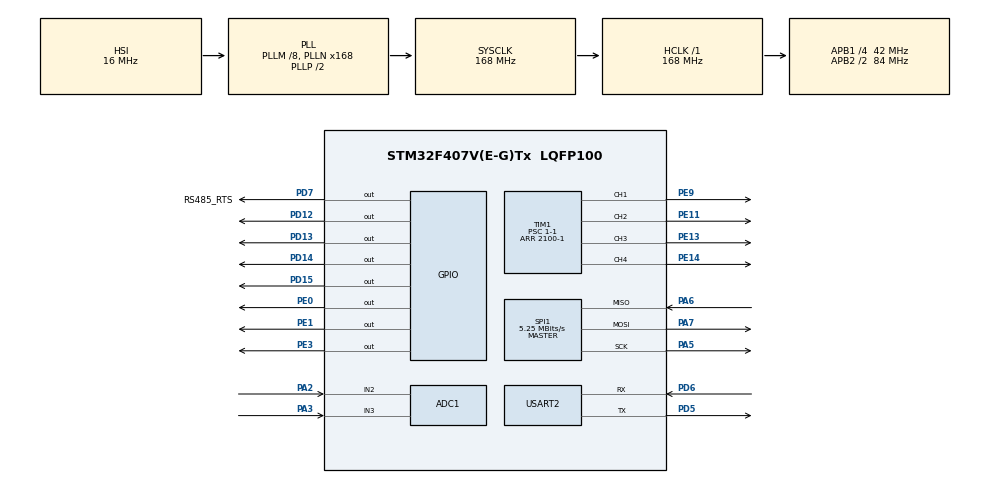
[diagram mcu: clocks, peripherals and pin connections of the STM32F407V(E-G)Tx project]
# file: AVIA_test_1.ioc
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ADC1.Channel-0\#ChannelRegularConversion=ADC_CHANNEL_2
ADC1.Channel-1\#ChannelRegularConversion=ADC_CHANNEL_3
ADC1.DMAContinuousRequests=ENABLE
ADC1.ExternalTrigConv=ADC_EXTERNALTRIGCONV_T2_TRGO
ADC1.NbrOfConversion=2
ADC1.NbrOfConversionFlag=1
ADC1.Rank-0\#ChannelRegularConversion=1
ADC1.Rank-1\#ChannelRegularConversion=2
ADC1.SamplingTime-0\#ChannelRegularConversion=ADC_SAMPLETIME_28CYCLES
ADC1.SamplingTime-1\#ChannelRegularConversion=ADC_SAMPLETIME_28CYCLES
ADC1.ScanConvMode=ENABLE
ADC1.master=1
Dma.ADC1.0.Direction=DMA_PERIPH_TO_MEMORY
Dma.ADC1.0.FIFOMode=DMA_FIFOMODE_DISABLE
Dma.ADC1.0.Instance=DMA2_Stream0
Dma.ADC1.0.MemDataAlignment=DMA_MDATAALIGN_HALFWORD
Dma.ADC1.0.MemInc=DMA_MINC_ENABLE
Dma.ADC1.0.Mode=DMA_CIRCULAR
Dma.ADC1.0.PeriphDataAlignment=DMA_PDATAALIGN_HALFWORD
Dma.ADC1.0.PeriphInc=DMA_PINC_DISABLE
Dma.ADC1.0.Priority=DMA_PRIORITY_LOW
Dma.Request0=ADC1
Mcu.Family=STM32F4
Mcu.Name=STM32F407V(E-G)Tx
Mcu.Package=LQFP100
NVIC.ADC_IRQn=true\:0\:0\:false\:false\:true\:true\:true
NVIC.DMA2_Stream0_IRQn=true\:0\:0\:false\:false\:true\:false\:true
NVIC.PriorityGroup=NVIC_PRIORITYGROUP_4
NVIC.TIM1_BRK_TIM9_IRQn=true\:0\:0\:false\:false\:true\:true\:true
NVIC.TIM1_CC_IRQn=true\:0\:0\:false\:false\:true\:true\:true
NVIC.TIM1_TRG_COM_TIM11_IRQn=true\:0\:0\:false\:false\:true\:true\:true
NVIC.TIM1_UP_TIM10_IRQn=true\:0\:0\:false\:false\:true\:true\:true
NVIC.TIM7_IRQn=true\:0\:0\:false\:false\:true\:true\:true
NVIC.USART2_IRQn=true\:0\:0\:false\:false\:true\:true\:true
PA13.Mode=Serial_Wire
PA13.Signal=SYS_JTMS-SWDIO
PA14.Mode=Serial_Wire
PA14.Signal=SYS_JTCK-SWCLK
PA2.Signal=ADCx_IN2
PA3.Signal=ADCx_IN3
PA5.Mode=Full_Duplex_Master
PA5.Signal=SPI1_SCK
PA6.Mode=Full_Duplex_Master
PA6.Signal=SPI1_MISO
PA7.Mode=Full_Duplex_Master
PA7.Signal=SPI1_MOSI
PD12.Signal=GPIO_Output
PD13.Signal=GPIO_Output
PD14.Signal=GPIO_Output
PD15.Signal=GPIO_Output
PD5.Mode=Asynchronous
PD5.Signal=USART2_TX
PD6.Mode=Asynchronous
PD6.Signal=USART2_RX
PD7.GPIO_Label=RS485_RTS
PD7.GPIO_Speed=GPIO_SPEED_FREQ_LOW
PD7.Signal=GPIO_Output
PE0.Signal=GPIO_Output
PE1.Signal=GPIO_Output
PE11.Signal=S_TIM1_CH2
PE13.Signal=S_TIM1_CH3
PE14.Signal=S_TIM1_CH4
PE3.GPIO_Speed=GPIO_SPEED_FREQ_MEDIUM
PE3.Signal=GPIO_Output
PE9.Signal=S_TIM1_CH1
PH0-OSC_IN.Mode=HSE-External-Oscillator
PH0-OSC_IN.Signal=RCC_OSC_IN
PH1-OSC_OUT.Mode=HSE-External-Oscillator
PH1-OSC_OUT.Signal=RCC_OSC_OUT
ProjectManager.HeapSize=0x200
ProjectManager.StackSize=0x400
ProjectManager.TargetToolchain=SW4STM32
RCC.48MHZClocksFreq_Value=84000000
RCC.AHBFreq_Value=168000000
RCC.APB1CLKDivider=RCC_HCLK_DIV4
RCC.APB1Freq_Value=42000000
RCC.APB1TimFreq_Value=84000000
RCC.APB2CLKDivider=RCC_HCLK_DIV2
RCC.APB2Freq_Value=84000000
RCC.APB2TimFreq_Value=168000000
RCC.CortexFreq_Value=168000000
RCC.HCLKFreq_Value=168000000
RCC.HSE_VALUE=8000000
RCC.HSI_VALUE=16000000
RCC.LSE_VALUE=32768
RCC.PLLM=8
RCC.PLLN=168
RCC.SYSCLKFreq_VALUE=168000000
RCC.SYSCLKSource=RCC_SYSCLKSOURCE_PLLCLK
RCC.VCOOutputFreq_Value=336000000
SH.ADCx_IN2.0=ADC1_IN2,IN2
SH.ADCx_IN3.0=ADC1_IN3,IN3
SH.S_TIM1_CH1.0=TIM1_CH1,PWM Generation1 CH1
SH.S_TIM1_CH2.0=TIM1_CH2,PWM Generation2 CH2
SH.S_TIM1_CH3.0=TIM1_CH3,PWM Generation3 CH3
SH.S_TIM1_CH4.0=TIM1_CH4,Output Compare4 CH4
SPI1.BaudRatePrescaler=SPI_BAUDRATEPRESCALER_16
SPI1.CalculateBaudRate=5.25 MBits/s
SPI1.Direction=SPI_DIRECTION_2LINES
SPI1.Mode=SPI_MODE_MASTER
SPI1.VirtualType=VM_MASTER
TIM1.Channel-Output\ Compare4\ CH4=TIM_CHANNEL_4
TIM1.Channel-PWM\ Generation1\ CH1=TIM_CHANNEL_1
TIM1.Channel-PWM\ Generation2\ CH2=TIM_CHANNEL_2
TIM1.Channel-PWM\ Generation3\ CH3=TIM_CHANNEL_3
TIM1.Period=2100-1
TIM1.Prescaler=1-1
TIM7.Period=50-1
TIM7.Prescaler=72-1
USART2.VirtualMode=VM_ASYNC
VP_TIM1_VS_ClockSourceINT.Mode=Internal
VP_TIM7_VS_ClockSourceINT.Mode=Enable_Timer
board=custom

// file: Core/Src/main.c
/* USER CODE BEGIN Header */
/**
  ******************************************************************************
  * @file           : main.c
  * @brief          : Main program body
  ******************************************************************************
  * @attention
  *
  * <h2><center>&copy; Copyright (c) 2024 STMicroelectronics.
  * All rights reserved.</center></h2>
  *
  * This software component is licensed by ST under BSD 3-Clause license,
  * the "License"; You may not use this file except in compliance with the
  * License. You may obtain a copy of the License at:
  *                        opensource.org/licenses/BSD-3-Clause
  *
  ******************************************************************************
  */
/* USER CODE END Header */
#include "main.h"

/* USER CODE BEGIN Includes */
#include "mb.h"
#include "mbport.h"
#include "user_mb_app.h"
/* USER CODE END Includes */

ADC_HandleTypeDef hadc1;
DMA_HandleTypeDef hdma_adc1;

SPI_HandleTypeDef hspi1;

TIM_HandleTypeDef htim1;
TIM_HandleTypeDef htim7;

UART_HandleTypeDef huart2;

void SystemClock_Config(void);
static void MX_GPIO_Init(void);
static void MX_DMA_Init(void);
static void MX_ADC1_Init(void);
static void MX_TIM1_Init(void);
static void MX_TIM7_Init(void);
static void MX_USART2_UART_Init(void);
static void MX_SPI1_Init(void);

/* USER CODE BEGIN 0 */
extern uint16_t usSRegInBuf[];
extern uint16_t usSRegHoldBuf[];
extern uint8_t ucSDiscInBuf[];
uint16_t adc_data[2];

/* USER CODE END 0 */

int main(void)
{

  /* MCU Configuration--------------------------------------------------------*/

  /* Reset of all peripherals, Initializes the Flash interface and the Systick. */
  HAL_Init();

  /* Configure the system clock */
  SystemClock_Config();

  /* Initialize all configured peripherals */
  MX_GPIO_Init();
  MX_DMA_Init();
  MX_ADC1_Init();
  MX_TIM1_Init();
  MX_TIM7_Init();
  MX_USART2_UART_Init();
  MX_SPI1_Init();
  /* USER CODE BEGIN 2 */

  eMBInit( MB_RTU, 0x0A, &huart2, 115200, &htim7 );
  eMBEnable( );

  uint32_t last_time = HAL_GetTick();

  /* USER CODE END 2 */

  /* Infinite loop */
  /* USER CODE BEGIN WHILE */
  while (1)
  {
//	  HAL_GPIO_TogglePin(GPIOD,GPIO_PIN_15);
//	  HAL_Delay(500);

	  if(HAL_GetTick() - last_time > 1000){
//		  usSRegInBuf[0] = HAL_GetTick()/1000;
		  usSRegHoldBuf[0] = HAL_GetTick()/1000;
		  last_time = HAL_GetTick();
		  HAL_GPIO_TogglePin(GPIOD,GPIO_PIN_15);

	  }

	eMBPoll();
    /* USER CODE END WHILE */

  }
}

void SystemClock_Config(void)
{
  RCC_OscInitTypeDef RCC_OscInitStruct = {0};
  RCC_ClkInitTypeDef RCC_ClkInitStruct = {0};

  /** Configure the main internal regulator output voltage
  */
  __HAL_RCC_PWR_CLK_ENABLE();
  __HAL_PWR_VOLTAGESCALING_CONFIG(PWR_REGULATOR_VOLTAGE_SCALE1);
  /** Initializes the RCC Oscillators according to the specified parameters
  * in the RCC_OscInitTypeDef structure.
  */
  RCC_OscInitStruct.OscillatorType = RCC_OSCILLATORTYPE_HSI;
  RCC_OscInitStruct.HSIState = RCC_HSI_ON;
  RCC_OscInitStruct.HSICalibrationValue = RCC_HSICALIBRATION_DEFAULT;
  RCC_OscInitStruct.PLL.PLLState = RCC_PLL_ON;
  RCC_OscInitStruct.PLL.PLLSource = RCC_PLLSOURCE_HSI;
  RCC_OscInitStruct.PLL.PLLM = 8;
  RCC_OscInitStruct.PLL.PLLN = 168;
  RCC_OscInitStruct.PLL.PLLP = RCC_PLLP_DIV2;
  RCC_OscInitStruct.PLL.PLLQ = 4;
  if (HAL_RCC_OscConfig(&RCC_OscInitStruct) != HAL_OK)
  {
    Error_Handler();
  }
  /** Initializes the CPU, AHB and APB buses clocks
  */
  RCC_ClkInitStruct.ClockType = RCC_CLOCKTYPE_HCLK|RCC_CLOCKTYPE_SYSCLK
                              |RCC_CLOCKTYPE_PCLK1|RCC_CLOCKTYPE_PCLK2;
  RCC_ClkInitStruct.SYSCLKSource = RCC_SYSCLKSOURCE_PLLCLK;
  RCC_ClkInitStruct.AHBCLKDivider = RCC_SYSCLK_DIV1;
  RCC_ClkInitStruct.APB1CLKDivider = RCC_HCLK_DIV4;
  RCC_ClkInitStruct.APB2CLKDivider = RCC_HCLK_DIV2;

  if (HAL_RCC_ClockConfig(&RCC_ClkInitStruct, FLASH_LATENCY_5) != HAL_OK)
  {
    Error_Handler();
  }
}

static void MX_ADC1_Init(void)
{

  ADC_ChannelConfTypeDef sConfig = {0};

  /** Configure the global features of the ADC (Clock, Resolution, Data Alignment and number of conversion)
  */
  hadc1.Instance = ADC1;
  hadc1.Init.ClockPrescaler = ADC_CLOCK_SYNC_PCLK_DIV4;
  hadc1.Init.Resolution = ADC_RESOLUTION_12B;
  hadc1.Init.ScanConvMode = ENABLE;
  hadc1.Init.ContinuousConvMode = DISABLE;
  hadc1.Init.DiscontinuousConvMode = DISABLE;
  hadc1.Init.ExternalTrigConvEdge = ADC_EXTERNALTRIGCONVEDGE_RISING;
  hadc1.Init.ExternalTrigConv = ADC_EXTERNALTRIGCONV_T2_TRGO;
  hadc1.Init.DataAlign = ADC_DATAALIGN_RIGHT;
  hadc1.Init.NbrOfConversion = 2;
  hadc1.Init.DMAContinuousRequests = ENABLE;
  hadc1.Init.EOCSelection = ADC_EOC_SINGLE_CONV;
  if (HAL_ADC_Init(&hadc1) != HAL_OK)
  {
    Error_Handler();
  }
  /** Configure for the selected ADC regular channel its corresponding rank in the sequencer and its sample time.
  */
  sConfig.Channel = ADC_CHANNEL_2;
  sConfig.Rank = 1;
  sConfig.SamplingTime = ADC_SAMPLETIME_28CYCLES;
  if (HAL_ADC_ConfigChannel(&hadc1, &sConfig) != HAL_OK)
  {
    Error_Handler();
  }
  /** Configure for the selected ADC regular channel its corresponding rank in the sequencer and its sample time.
  */
  sConfig.Channel = ADC_CHANNEL_3;
  sConfig.Rank = 2;
  if (HAL_ADC_ConfigChannel(&hadc1, &sConfig) != HAL_OK)
  {
    Error_Handler();
  }

}

static void MX_SPI1_Init(void)
{

  /* SPI1 parameter configuration*/
  hspi1.Instance = SPI1;
  hspi1.Init.Mode = SPI_MODE_MASTER;
  hspi1.Init.Direction = SPI_DIRECTION_2LINES;
  hspi1.Init.DataSize = SPI_DATASIZE_8BIT;
  hspi1.Init.CLKPolarity = SPI_POLARITY_LOW;
  hspi1.Init.CLKPhase = SPI_PHASE_1EDGE;
  hspi1.Init.NSS = SPI_NSS_SOFT;
  hspi1.Init.BaudRatePrescaler = SPI_BAUDRATEPRESCALER_16;
  hspi1.Init.FirstBit = SPI_FIRSTBIT_MSB;
  hspi1.Init.TIMode = SPI_TIMODE_DISABLE;
  hspi1.Init.CRCCalculation = SPI_CRCCALCULATION_DISABLE;
  hspi1.Init.CRCPolynomial = 10;
  if (HAL_SPI_Init(&hspi1) != HAL_OK)
  {
    Error_Handler();
  }

}

static void MX_TIM1_Init(void)
{

  TIM_ClockConfigTypeDef sClockSourceConfig = {0};
  TIM_MasterConfigTypeDef sMasterConfig = {0};
  TIM_OC_InitTypeDef sConfigOC = {0};
  TIM_BreakDeadTimeConfigTypeDef sBreakDeadTimeConfig = {0};

  htim1.Instance = TIM1;
  htim1.Init.Prescaler = 1-1;
  htim1.Init.CounterMode = TIM_COUNTERMODE_UP;
  htim1.Init.Period = 2100-1;
  htim1.Init.ClockDivision = TIM_CLOCKDIVISION_DIV1;
  htim1.Init.RepetitionCounter = 0;
  htim1.Init.AutoReloadPreload = TIM_AUTORELOAD_PRELOAD_DISABLE;
  if (HAL_TIM_Base_Init(&htim1) != HAL_OK)
  {
    Error_Handler();
  }
  sClockSourceConfig.ClockSource = TIM_CLOCKSOURCE_INTERNAL;
  if (HAL_TIM_ConfigClockSource(&htim1, &sClockSourceConfig) != HAL_OK)
  {
    Error_Handler();
  }
  if (HAL_TIM_PWM_Init(&htim1) != HAL_OK)
  {
    Error_Handler();
  }
  if (HAL_TIM_OC_Init(&htim1) != HAL_OK)
  {
    Error_Handler();
  }
  sMasterConfig.MasterOutputTrigger = TIM_TRGO_RESET;
  sMasterConfig.MasterSlaveMode = TIM_MASTERSLAVEMODE_DISABLE;
  if (HAL_TIMEx_MasterConfigSynchronization(&htim1, &sMasterConfig) != HAL_OK)
  {
    Error_Handler();
  }
  sConfigOC.OCMode = TIM_OCMODE_PWM1;
  sConfigOC.Pulse = 0;
  sConfigOC.OCPolarity = TIM_OCPOLARITY_HIGH;
  sConfigOC.OCNPolarity = TIM_OCNPOLARITY_HIGH;
  sConfigOC.OCFastMode = TIM_OCFAST_DISABLE;
  sConfigOC.OCIdleState = TIM_OCIDLESTATE_RESET;
  sConfigOC.OCNIdleState = TIM_OCNIDLESTATE_RESET;
  if (HAL_TIM_PWM_ConfigChannel(&htim1, &sConfigOC, TIM_CHANNEL_1) != HAL_OK)
  {
    Error_Handler();
  }
  if (HAL_TIM_PWM_ConfigChannel(&htim1, &sConfigOC, TIM_CHANNEL_2) != HAL_OK)
  {
    Error_Handler();
  }
  if (HAL_TIM_PWM_ConfigChannel(&htim1, &sConfigOC, TIM_CHANNEL_3) != HAL_OK)
  {
    Error_Handler();
  }
  sConfigOC.OCMode = TIM_OCMODE_TIMING;
  if (HAL_TIM_OC_ConfigChannel(&htim1, &sConfigOC, TIM_CHANNEL_4) != HAL_OK)
  {
    Error_Handler();
  }
  sBreakDeadTimeConfig.OffStateRunMode = TIM_OSSR_DISABLE;
  sBreakDeadTimeConfig.OffStateIDLEMode = TIM_OSSI_DISABLE;
  sBreakDeadTimeConfig.LockLevel = TIM_LOCKLEVEL_OFF;
  sBreakDeadTimeConfig.DeadTime = 0;
  sBreakDeadTimeConfig.BreakState = TIM_BREAK_DISABLE;
  sBreakDeadTimeConfig.BreakPolarity = TIM_BREAKPOLARITY_HIGH;
  sBreakDeadTimeConfig.AutomaticOutput = TIM_AUTOMATICOUTPUT_DISABLE;
  if (HAL_TIMEx_ConfigBreakDeadTime(&htim1, &sBreakDeadTimeConfig) != HAL_OK)
  {
    Error_Handler();
  }
  HAL_TIM_MspPostInit(&htim1);

}

static void MX_TIM7_Init(void)
{

  TIM_MasterConfigTypeDef sMasterConfig = {0};

  htim7.Instance = TIM7;
  htim7.Init.Prescaler = 72-1;
  htim7.Init.CounterMode = TIM_COUNTERMODE_UP;
  htim7.Init.Period = 50-1;
  htim7.Init.AutoReloadPreload = TIM_AUTORELOAD_PRELOAD_DISABLE;
  if (HAL_TIM_Base_Init(&htim7) != HAL_OK)
  {
    Error_Handler();
  }
  sMasterConfig.MasterOutputTrigger = TIM_TRGO_RESET;
  sMasterConfig.MasterSlaveMode = TIM_MASTERSLAVEMODE_DISABLE;
  if (HAL_TIMEx_MasterConfigSynchronization(&htim7, &sMasterConfig) != HAL_OK)
  {
    Error_Handler();
  }

}

static void MX_USART2_UART_Init(void)
{

  huart2.Instance = USART2;
  huart2.Init.BaudRate = 115200;
  huart2.Init.WordLength = UART_WORDLENGTH_8B;
  huart2.Init.StopBits = UART_STOPBITS_1;
  huart2.Init.Parity = UART_PARITY_NONE;
  huart2.Init.Mode = UART_MODE_TX_RX;
  huart2.Init.HwFlowCtl = UART_HWCONTROL_NONE;
  huart2.Init.OverSampling = UART_OVERSAMPLING_16;
  if (HAL_UART_Init(&huart2) != HAL_OK)
  {
    Error_Handler();
  }

}

static void MX_DMA_Init(void)
{

  /* DMA controller clock enable */
  __HAL_RCC_DMA2_CLK_ENABLE();

  /* DMA interrupt init */
  /* DMA2_Stream0_IRQn interrupt configuration */
  HAL_NVIC_SetPriority(DMA2_Stream0_IRQn, 0, 0);
  HAL_NVIC_EnableIRQ(DMA2_Stream0_IRQn);

}

static void MX_GPIO_Init(void)
{
  GPIO_InitTypeDef GPIO_InitStruct = {0};

  /* GPIO Ports Clock Enable */
  __HAL_RCC_GPIOE_CLK_ENABLE();
  __HAL_RCC_GPIOH_CLK_ENABLE();
  __HAL_RCC_GPIOA_CLK_ENABLE();
  __HAL_RCC_GPIOD_CLK_ENABLE();

  /*Configure GPIO pin Output Level */
  HAL_GPIO_WritePin(GPIOE, GPIO_PIN_3|GPIO_PIN_0|GPIO_PIN_1, GPIO_PIN_RESET);

  /*Configure GPIO pin Output Level */
  HAL_GPIO_WritePin(GPIOD, GPIO_PIN_12|GPIO_PIN_13|GPIO_PIN_14|GPIO_PIN_15
                          |RS485_RTS_Pin, GPIO_PIN_RESET);

  /*Configure GPIO pin : PE3 */
  GPIO_InitStruct.Pin = GPIO_PIN_3;
  GPIO_InitStruct.Mode = GPIO_MODE_OUTPUT_PP;
  GPIO_InitStruct.Pull = GPIO_NOPULL;
  GPIO_InitStruct.Speed = GPIO_SPEED_FREQ_MEDIUM;
  HAL_GPIO_Init(GPIOE, &GPIO_InitStruct);

  /*Configure GPIO pins : PD12 PD13 PD14 PD15
                           RS485_RTS_Pin */
  GPIO_InitStruct.Pin = GPIO_PIN_12|GPIO_PIN_13|GPIO_PIN_14|GPIO_PIN_15
                          |RS485_RTS_Pin;
  GPIO_InitStruct.Mode = GPIO_MODE_OUTPUT_PP;
  GPIO_InitStruct.Pull = GPIO_NOPULL;
  GPIO_InitStruct.Speed = GPIO_SPEED_FREQ_LOW;
  HAL_GPIO_Init(GPIOD, &GPIO_InitStruct);

  /*Configure GPIO pins : PE0 PE1 */
  GPIO_InitStruct.Pin = GPIO_PIN_0|GPIO_PIN_1;
  GPIO_InitStruct.Mode = GPIO_MODE_OUTPUT_PP;
  GPIO_InitStruct.Pull = GPIO_NOPULL;
  GPIO_InitStruct.Speed = GPIO_SPEED_FREQ_LOW;
  HAL_GPIO_Init(GPIOE, &GPIO_InitStruct);

}

void Error_Handler(void)
{
  __disable_irq();
  while (1)
  {
  }
}

/************************ (C) COPYRIGHT STMicroelectronics *****END OF FILE****/
